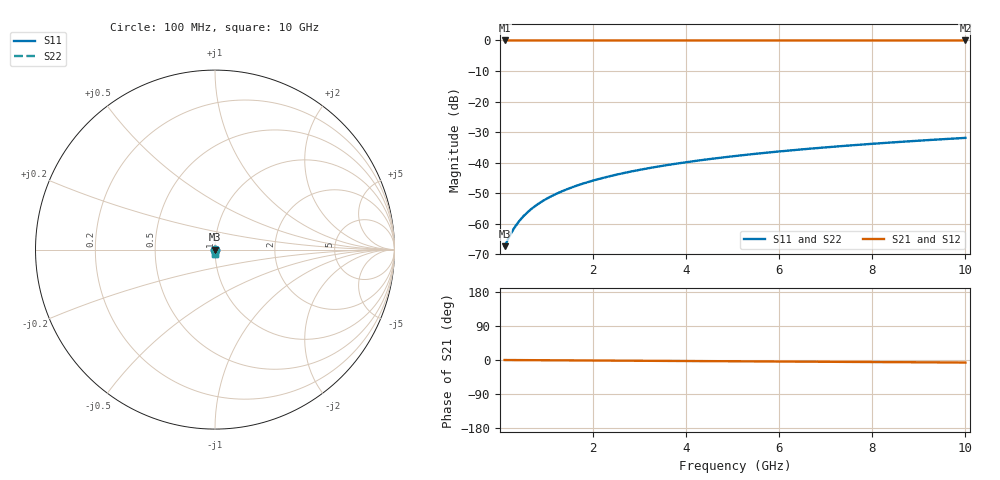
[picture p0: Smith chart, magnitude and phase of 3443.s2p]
# Hz S RI R 50.00
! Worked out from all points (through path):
!   100 points, 100 MHz to 10 GHz, reference 50 ohm
!   highest |S21| = 0.00 dB at 100 MHz (marker M1); lowest = 0.0 dB at 10 GHz (marker M2)
!   lowest |S11| = -67.4 dB at 100 MHz (marker M3), VSWR 1.00, Z = 50 - j0.0253 ohm
!   |S11| at or under -10 dB: start of sweep to end of sweep
!   |S22| runs from -67.4 to -31.9 dB; largest |S21 - S12| = 0
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1e8  0.000344 -0.000253  0.9997 -0.00117  0.9997 -0.00117  0.000344 -0.000253
2e8  0.000345 -0.000506  0.9996 -0.00233  0.9996 -0.00233  0.000345 -0.000506
3e8  0.000344 -0.000759  0.9996 -0.0035  0.9996 -0.0035  0.000344 -0.000759
4e8  0.000343 -0.00101  0.9996 -0.00466  0.9996 -0.00466  0.000343 -0.00101
5e8  0.000341 -0.00126  0.9996 -0.00583  0.9996 -0.00583  0.000341 -0.00126
6e8  0.000338 -0.00152  0.9996 -0.00699  0.9996 -0.00699  0.000338 -0.00152
7e8  0.000335 -0.00177  0.9996 -0.00816  0.9996 -0.00816  0.000335 -0.00177
9e8  0.000326 -0.00228  0.9996 -0.0105  0.9996 -0.0105  0.000326 -0.00228
1e9  0.00032 -0.00253  0.9996 -0.0117  0.9996 -0.0117  0.00032 -0.00253
1.2e9  0.000307 -0.00304  0.9995 -0.014  0.9995 -0.014  0.000307 -0.00304
1.5e9  0.000284 -0.00379  0.9995 -0.0175  0.9995 -0.0175  0.000284 -0.00379
1.8e9  0.000254 -0.00455  0.9994 -0.021  0.9994 -0.021  0.000254 -0.00455
2.1e9  0.000219 -0.00531  0.9993 -0.0245  0.9993 -0.0245  0.000219 -0.00531
2.5e9  0.000164 -0.00633  0.9992 -0.0291  0.9992 -0.0291  0.000164 -0.00633
2.9e9  0.0001 -0.00734  0.999 -0.0338  0.999 -0.0338  0.0001 -0.00734
3.4e9  6.09e-06 -0.0086  0.9988 -0.0396  0.9988 -0.0396  6.09e-06 -0.0086
4.2e9  -0.000175 -0.0106  0.9983 -0.049  0.9983 -0.049  -0.000175 -0.0106
5.1e9  -0.000425 -0.0129  0.9977 -0.0595  0.9977 -0.0595  -0.000425 -0.0129
5.9e9  -0.000687 -0.0149  0.9971 -0.0688  0.9971 -0.0688  -0.000687 -0.0149
6.7e9  -0.000988 -0.0169  0.9964 -0.0781  0.9964 -0.0781  -0.000988 -0.0169
8.4e9  -0.00175 -0.0212  0.9945 -0.098  0.9945 -0.098  -0.00175 -0.0212
1e10  -0.00263 -0.0252  0.9924 -0.1166  0.9924 -0.1166  -0.00263 -0.0252
